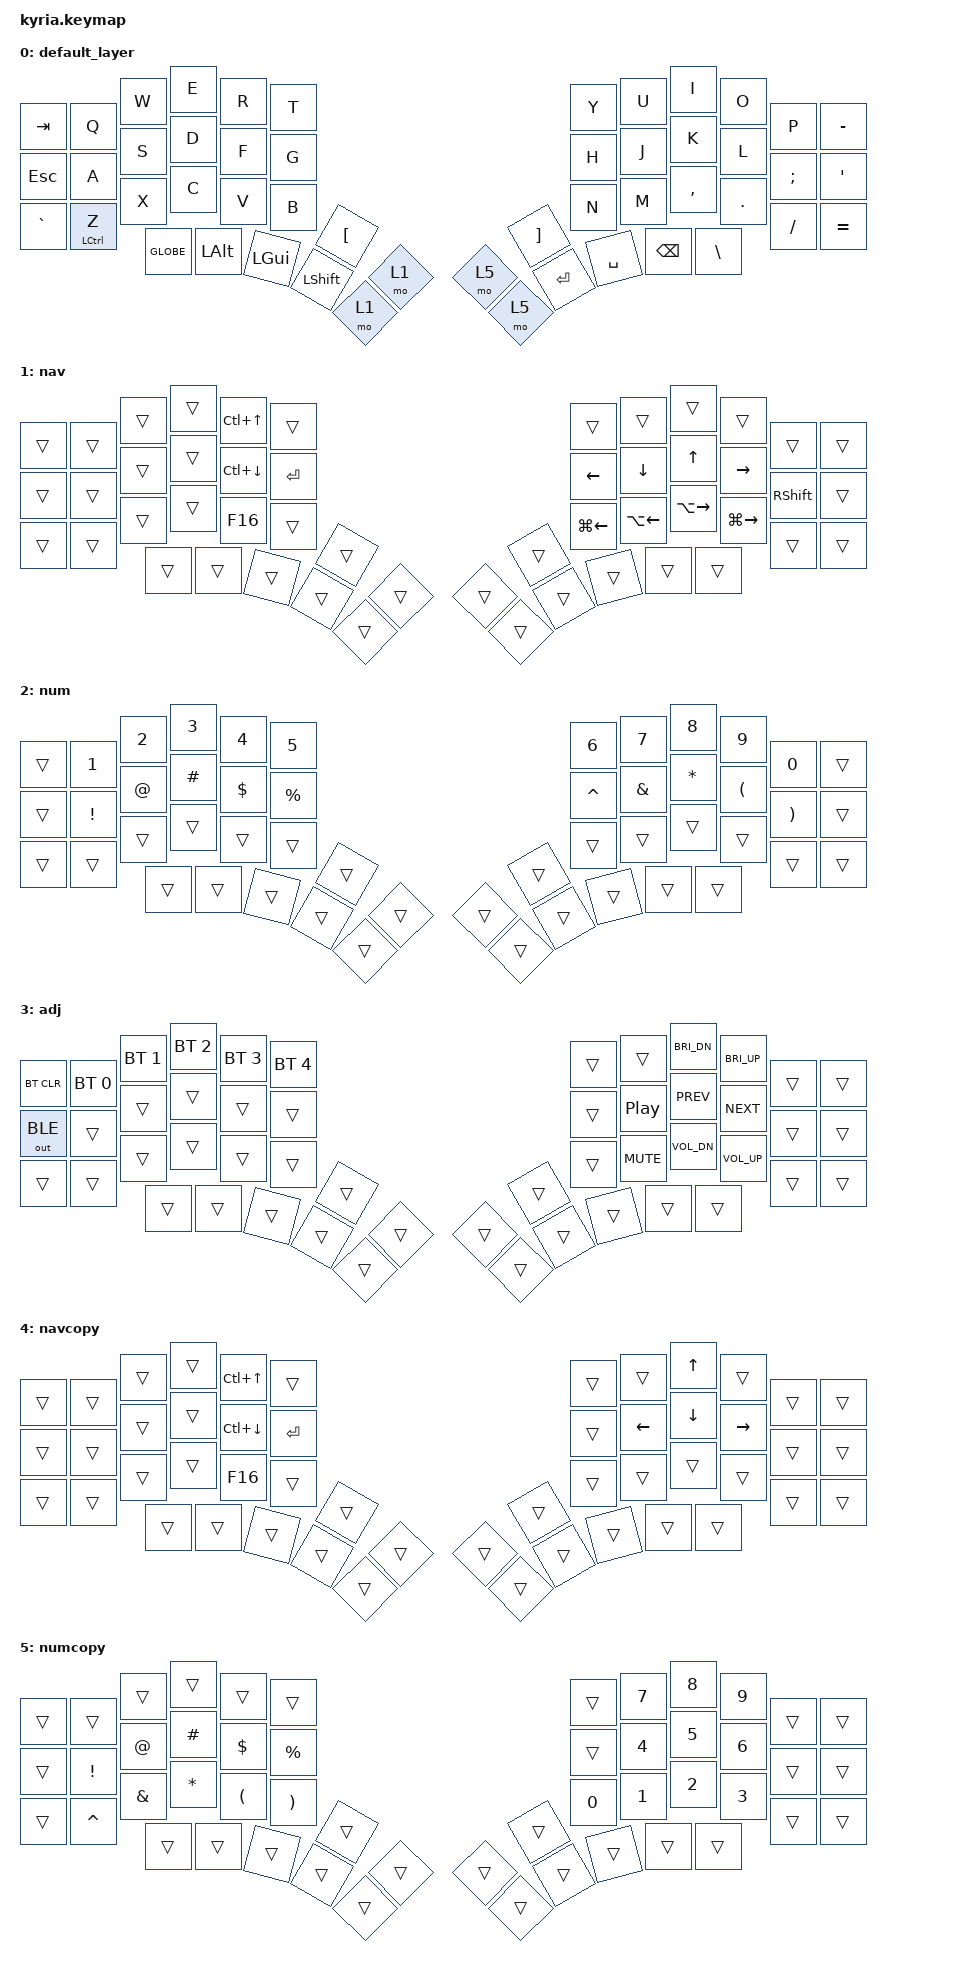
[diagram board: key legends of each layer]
/*
 * Copyright (c) 2020 The ZMK Contributors
 *
 * SPDX-License-Identifier: MIT
 */

#include <behaviors.dtsi>
#include <dt-bindings/zmk/keys.h>
#include <dt-bindings/zmk/bt.h>
#include <dt-bindings/zmk/outputs.h>

/ {
    keymap {
        compatible = "zmk,keymap";

        // 0

        default_layer {
            bindings = <
&kp TAB    &kp Q        &kp W  &kp E      &kp R     &kp T                                         &kp Y      &kp U     &kp I      &kp O    &kp P     &kp MINUS
&kp ESC    &kp A        &kp S  &kp D      &kp F     &kp G                                         &kp H      &kp J     &kp K      &kp L    &kp SEMI  &kp SQT
&kp GRAVE  &mt LCTRL Z  &kp X  &kp C      &kp V     &kp B     &kp LBKT    &mo 1  &mo 5  &kp RBKT  &kp N      &kp M     &kp COMMA  &kp DOT  &kp FSLH  &kp EQUAL
                               &kp GLOBE  &kp LALT  &kp LGUI  &kp LSHIFT  &mo 1  &mo 5  &kp RET   &kp SPACE  &kp BSPC  &kp BSLH
            >;
        };

        // 1

        nav {
            bindings = <
 &trans  &trans  &trans  &trans  &kp LC(UP)    &trans                                   &trans        &trans        &trans         &trans         &trans      &trans
 &trans  &trans  &trans  &trans  &kp LC(DOWN)  &kp RET                                  &kp LEFT      &kp DOWN      &kp UP         &kp RIGHT      &kp RSHIFT  &trans
 &trans  &trans  &trans  &trans  &kp F16       &trans   &trans  &trans  &trans  &trans  &kp LG(LEFT)  &kp LA(LEFT)  &kp LA(RIGHT)  &kp LG(RIGHT)  &trans      &trans
                         &trans  &trans        &trans   &trans  &trans  &trans  &trans  &trans        &trans        &trans
            >;
        };

        // 2

        num {
            bindings = <
 &trans  &kp N1    &kp N2  &kp N3    &kp N4    &kp N5                                     &kp N6     &kp N7    &kp N8     &kp N9    &kp N0    &trans
 &trans  &kp EXCL  &kp AT  &kp HASH  &kp DLLR  &kp PRCNT                                  &kp CARET  &kp AMPS  &kp ASTRK  &kp LPAR  &kp RPAR  &trans
 &trans  &trans    &trans  &trans    &trans    &trans     &trans  &trans  &trans  &trans  &trans     &trans    &trans     &trans    &trans    &trans
                           &trans    &trans    &trans     &trans  &trans  &trans  &trans  &trans     &trans    &trans
            >;
        };

        // 3

        adj {
            bindings = <
&bt BT_CLR    &bt BT_SEL 0  &bt BT_SEL 1  &bt BT_SEL 2  &bt BT_SEL 3  &bt BT_SEL 4                                  &trans  &trans      &kp C_BRI_DN  &kp C_BRI_UP  &trans  &trans
&out OUT_BLE  &trans        &trans        &trans        &trans        &trans                                        &trans  &kp C_PP    &kp C_PREV    &kp C_NEXT    &trans  &trans
&trans        &trans        &trans        &trans        &trans        &trans        &trans  &trans  &trans  &trans  &trans  &kp K_MUTE  &kp C_VOL_DN  &kp C_VOL_UP  &trans  &trans
                                          &trans        &trans        &trans        &trans  &trans  &trans  &trans  &trans  &trans      &trans
            >;
        };

    // duplicated nav and num layers to resolve conflict with conditional layer 3

    // 4

        navcopy {
            bindings = <
 &trans  &trans  &trans  &trans    &kp LC(UP)   &trans                                  &trans    &trans    &kp UP     &trans  &trans  &trans
 &trans  &trans  &trans  &trans  &kp LC(DOWN)  &kp RET                                  &trans  &kp LEFT  &kp DOWN  &kp RIGHT  &trans  &trans
 &trans  &trans  &trans  &trans       &kp F16   &trans  &trans  &trans  &trans  &trans  &trans    &trans    &trans     &trans  &trans  &trans
                         &trans        &trans   &trans  &trans  &trans  &trans  &trans  &trans    &trans    &trans
            >;
        };

        // 5

        numcopy {
            bindings = <
 &trans  &trans     &trans    &trans     &trans    &trans                                     &trans  &kp N7  &kp N8  &kp N9  &trans  &trans
 &trans  &kp EXCL   &kp AT    &kp HASH   &kp DLLR  &kp PRCNT                                  &trans  &kp N4  &kp N5  &kp N6  &trans  &trans
 &trans  &kp CARET  &kp AMPS  &kp ASTRK  &kp LPAR  &kp RPAR   &trans  &trans  &trans  &trans  &kp N0  &kp N1  &kp N2  &kp N3  &trans  &trans
                              &trans     &trans    &trans     &trans  &trans  &trans  &trans  &trans  &trans  &trans
            >;
        };
    };
};

/ {
    conditional_layers {
        compatible = "zmk,conditional-layers";

        tri_layer {
            if-layers = <1 5>;// nav && num
            then-layer = <3>;// adj
        };
    };
};
